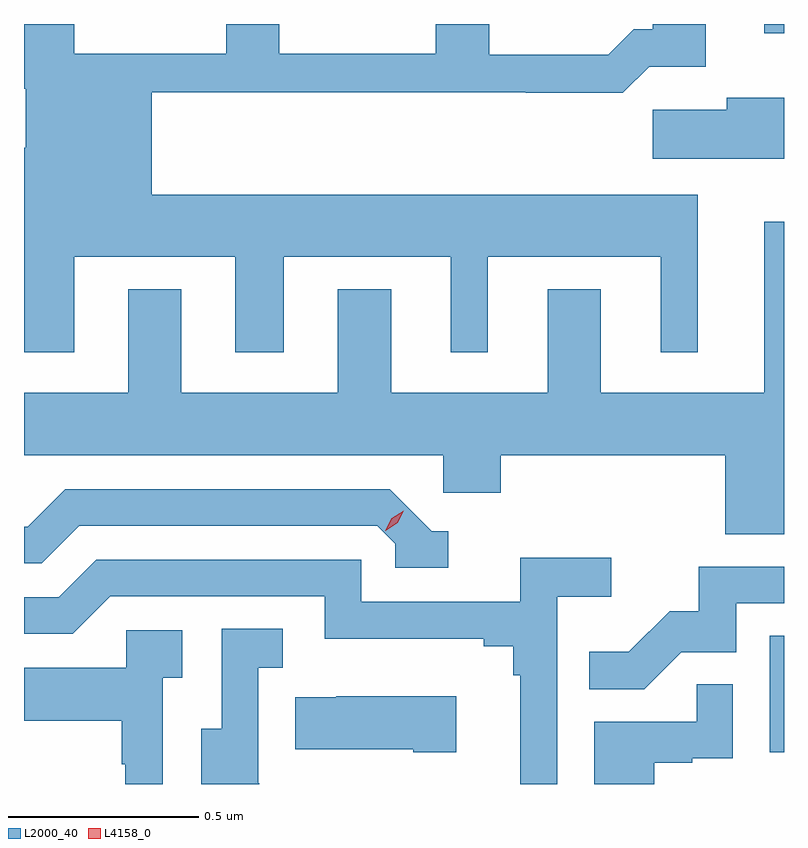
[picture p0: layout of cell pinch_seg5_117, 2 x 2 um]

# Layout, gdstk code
import gdstk
lib = gdstk.Library(unit=1e-6, precision=1e-09)
def R(c, l, rs):  # rectangles x0, y0, x1, y1
    for r in rs: c.add(gdstk.rectangle(r[:2], r[2:], *l))
def P(c, l, *ps):  # polygons
    for p in ps: c.add(gdstk.Polygon(p, *l))
L2000_40 = (2000, 40)
L4158_0 = (4158, 0)

pinch_seg5_117 = lib.new_cell('pinch_seg5_117')
R(pinch_seg5_117, L2000_40, [(1039.598,891.942,1039.635,892.249), (1039.583,893.835,1039.635,893.859)])
P(pinch_seg5_117, L2000_40, [(1037.767,893.246),(1038.191,893.246),(1038.191,892.995),(1038.319,892.995),(1038.319,893.246),(1038.758,893.246),(1038.758,892.995),(1038.856,892.995),(1038.856,893.246),(1039.31,893.246),(1039.31,892.995),(1039.408,892.995),(1039.408,893.41),(1037.971,893.41),(1037.971,893.68),(1038.955,893.68),(1038.955,893.678),(1039.211,893.678),(1039.28,893.747),(1039.429,893.747),(1039.429,893.859),(1039.289,893.859),(1039.289,893.845),(1039.24,893.845),(1039.173,893.778),(1038.859,893.778),(1038.859,893.859),(1038.719,893.859),(1038.719,893.781),(1038.307,893.781),(1038.307,893.859),(1038.167,893.859),(1038.167,893.781),(1037.767,893.781),(1037.767,893.859),(1037.635,893.859),(1037.635,893.688),(1037.639,893.688),(1037.639,893.533),(1037.635,893.533),(1037.635,892.995),(1037.767,892.995)],
  [(1039.635,893.665),(1039.484,893.665),(1039.484,893.633),(1039.29,893.633),(1039.29,893.504),(1039.635,893.504)],
  [(1039.635,893.338),(1039.583,893.338),(1039.583,892.888),(1039.153,892.888),(1039.153,893.161),(1039.013,893.161),(1039.013,892.888),(1038.601,892.888),(1038.601,893.161),(1038.461,893.161),(1038.461,892.888),(1038.049,892.888),(1038.049,893.161),(1037.909,893.161),(1037.909,892.888),(1037.635,892.888),(1037.635,892.724),(1038.738,892.724),(1038.738,892.626),(1038.89,892.626),(1038.89,892.724),(1039.481,892.724),(1039.481,892.516),(1039.635,892.516)],
  [(1038.751,892.524),(1038.708,892.524),(1038.597,892.635),(1037.744,892.635),(1037.645,892.536),(1037.635,892.536),(1037.635,892.44),(1037.682,892.44),(1037.781,892.539),(1038.564,892.539),(1038.612,892.491),(1038.612,892.428),(1038.751,892.428)],
  [(1039.038,892.352),(1039.18,892.352),(1039.18,892.454),(1038.941,892.454),(1038.941,892.338),(1038.522,892.338),(1038.522,892.449),(1037.825,892.449),(1037.726,892.35),(1037.635,892.35),(1037.635,892.254),(1037.763,892.254),(1037.862,892.353),(1038.426,892.353),(1038.426,892.241),(1038.845,892.241),(1038.845,892.222),(1038.922,892.222),(1038.922,892.145),(1038.941,892.145),(1038.941,891.859),(1039.038,891.859)],
  [(1039.365,892.206),(1039.509,892.206),(1039.509,892.335),(1039.635,892.335),(1039.635,892.431),(1039.411,892.431),(1039.411,892.314),(1039.334,892.314),(1039.227,892.207),(1039.123,892.207),(1039.123,892.108),(1039.267,892.108)],
  [(1038.254,891.861),(1038.252,891.861),(1038.252,892.165),(1038.316,892.165),(1038.316,892.268),(1038.156,892.268),(1038.156,892.005),(1038.101,892.005),(1038.101,891.859),(1038.254,891.859)],
  [(1038,892.139),(1038.052,892.139),(1038.052,892.263),(1037.904,892.263),(1037.904,892.165),(1037.635,892.165),(1037.635,892.025),(1037.892,892.025),(1037.892,891.911),(1037.902,891.911),(1037.902,891.859),(1038,891.859)],
  [(1039.294,891.915),(1039.394,891.915),(1039.394,891.927),(1039.5,891.927),(1039.5,892.121),(1039.405,892.121),(1039.405,892.023),(1039.136,892.023),(1039.136,891.859),(1039.294,891.859)],
  [(1038.772,892.09),(1038.457,892.09),(1038.457,892.087),(1038.349,892.087),(1038.349,891.95),(1038.659,891.95),(1038.659,891.943),(1038.772,891.943)])
P(pinch_seg5_117, L4158_0, [(1038.586,892.526),(1038.586,892.526),(1038.603,892.559),(1038.634,892.578),(1038.634,892.578),(1038.634,892.578),(1038.618,892.546),(1038.587,892.526)])

lib.write_gds('pinch_seg5_117.gds')
